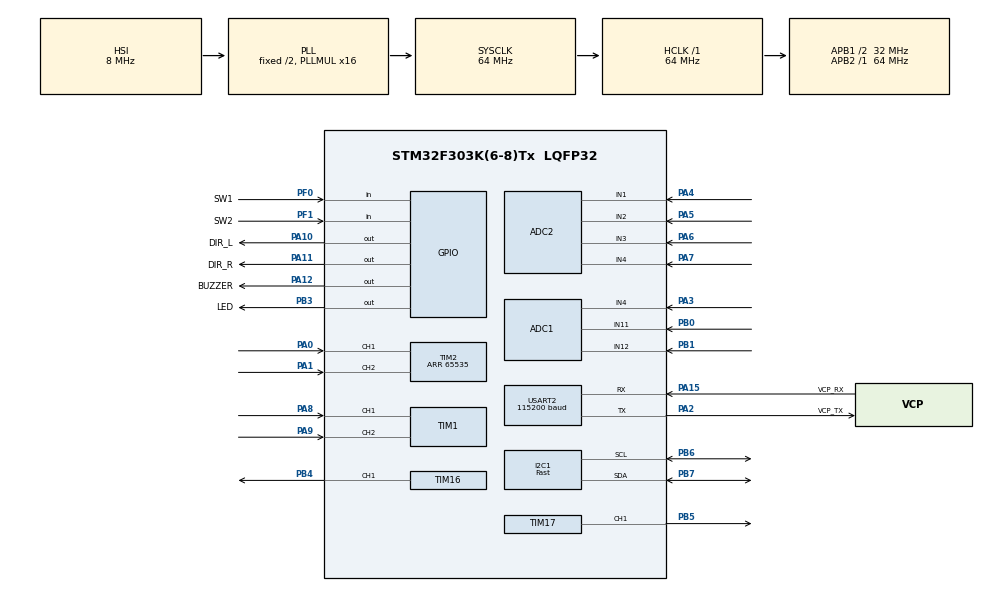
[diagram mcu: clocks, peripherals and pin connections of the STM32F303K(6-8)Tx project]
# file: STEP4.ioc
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ADC1.Channel-3\#ChannelRegularConversion=ADC_CHANNEL_4
ADC1.Channel-4\#ChannelRegularConversion=ADC_CHANNEL_11
ADC1.Channel-5\#ChannelRegularConversion=ADC_CHANNEL_12
ADC1.ContinuousConvMode=DISABLE
ADC1.DMAContinuousRequests=ENABLE
ADC1.DiscontinuousConvMode=ENABLE
ADC1.ExternalTrigConv=ADC_EXTERNALTRIGCONV_T3_TRGO
ADC1.NbrOfConversion=3
ADC1.NbrOfConversionFlag=1
ADC1.NbrOfDiscConversion=3
ADC1.Offset-3\#ChannelRegularConversion=0
ADC1.Offset-4\#ChannelRegularConversion=0
ADC1.Offset-5\#ChannelRegularConversion=0
ADC1.OffsetNumber-3\#ChannelRegularConversion=ADC_OFFSET_NONE
ADC1.OffsetNumber-4\#ChannelRegularConversion=ADC_OFFSET_NONE
ADC1.OffsetNumber-5\#ChannelRegularConversion=ADC_OFFSET_NONE
ADC1.Rank-3\#ChannelRegularConversion=1
ADC1.Rank-4\#ChannelRegularConversion=2
ADC1.Rank-5\#ChannelRegularConversion=3
ADC1.SamplingTime-3\#ChannelRegularConversion=ADC_SAMPLETIME_4CYCLES_5
ADC1.SamplingTime-4\#ChannelRegularConversion=ADC_SAMPLETIME_4CYCLES_5
ADC1.SamplingTime-5\#ChannelRegularConversion=ADC_SAMPLETIME_4CYCLES_5
ADC1.SubFamily=STM32F303x8
ADC1.master=1
ADC2.Channel-3\#ChannelRegularConversion=ADC_CHANNEL_1
ADC2.Channel-4\#ChannelRegularConversion=ADC_CHANNEL_2
ADC2.Channel-5\#ChannelRegularConversion=ADC_CHANNEL_3
ADC2.Channel-6\#ChannelRegularConversion=ADC_CHANNEL_4
ADC2.ContinuousConvMode=DISABLE
ADC2.DMAContinuousRequests=ENABLE
ADC2.DiscontinuousConvMode=ENABLE
ADC2.ExternalTrigConv=ADC_EXTERNALTRIGCONV_T3_TRGO
ADC2.NbrOfConversion=4
ADC2.NbrOfConversionFlag=1
ADC2.NbrOfDiscConversion=4
ADC2.Offset-3\#ChannelRegularConversion=0
ADC2.Offset-4\#ChannelRegularConversion=0
ADC2.Offset-5\#ChannelRegularConversion=0
ADC2.Offset-6\#ChannelRegularConversion=0
ADC2.OffsetNumber-3\#ChannelRegularConversion=ADC_OFFSET_NONE
ADC2.OffsetNumber-4\#ChannelRegularConversion=ADC_OFFSET_NONE
ADC2.OffsetNumber-5\#ChannelRegularConversion=ADC_OFFSET_NONE
ADC2.OffsetNumber-6\#ChannelRegularConversion=ADC_OFFSET_NONE
ADC2.Rank-3\#ChannelRegularConversion=1
ADC2.Rank-4\#ChannelRegularConversion=2
ADC2.Rank-5\#ChannelRegularConversion=3
ADC2.Rank-6\#ChannelRegularConversion=4
ADC2.SamplingTime-3\#ChannelRegularConversion=ADC_SAMPLETIME_4CYCLES_5
ADC2.SamplingTime-4\#ChannelRegularConversion=ADC_SAMPLETIME_4CYCLES_5
ADC2.SamplingTime-5\#ChannelRegularConversion=ADC_SAMPLETIME_4CYCLES_5
ADC2.SamplingTime-6\#ChannelRegularConversion=ADC_SAMPLETIME_4CYCLES_5
ADC2.SubFamily=STM32F303x8
Dma.ADC1.0.Direction=DMA_PERIPH_TO_MEMORY
Dma.ADC1.0.Instance=DMA1_Channel1
Dma.ADC1.0.MemDataAlignment=DMA_MDATAALIGN_HALFWORD
Dma.ADC1.0.MemInc=DMA_MINC_ENABLE
Dma.ADC1.0.Mode=DMA_CIRCULAR
Dma.ADC1.0.PeriphDataAlignment=DMA_PDATAALIGN_HALFWORD
Dma.ADC1.0.PeriphInc=DMA_PINC_DISABLE
Dma.ADC1.0.Priority=DMA_PRIORITY_LOW
Dma.ADC2.1.Direction=DMA_PERIPH_TO_MEMORY
Dma.ADC2.1.Instance=DMA1_Channel2
Dma.ADC2.1.MemDataAlignment=DMA_MDATAALIGN_HALFWORD
Dma.ADC2.1.MemInc=DMA_MINC_ENABLE
Dma.ADC2.1.Mode=DMA_CIRCULAR
Dma.ADC2.1.PeriphDataAlignment=DMA_PDATAALIGN_HALFWORD
Dma.ADC2.1.PeriphInc=DMA_PINC_DISABLE
Dma.ADC2.1.Priority=DMA_PRIORITY_LOW
Dma.I2C1_RX.2.Direction=DMA_PERIPH_TO_MEMORY
Dma.I2C1_RX.2.Instance=DMA1_Channel3
Dma.I2C1_RX.2.MemDataAlignment=DMA_MDATAALIGN_BYTE
Dma.I2C1_RX.2.MemInc=DMA_MINC_ENABLE
Dma.I2C1_RX.2.Mode=DMA_NORMAL
Dma.I2C1_RX.2.PeriphDataAlignment=DMA_PDATAALIGN_BYTE
Dma.I2C1_RX.2.PeriphInc=DMA_PINC_DISABLE
Dma.I2C1_RX.2.Priority=DMA_PRIORITY_LOW
Dma.I2C1_TX.3.Direction=DMA_MEMORY_TO_PERIPH
Dma.I2C1_TX.3.Instance=DMA1_Channel4
Dma.I2C1_TX.3.MemDataAlignment=DMA_MDATAALIGN_BYTE
Dma.I2C1_TX.3.MemInc=DMA_MINC_ENABLE
Dma.I2C1_TX.3.Mode=DMA_NORMAL
Dma.I2C1_TX.3.PeriphDataAlignment=DMA_PDATAALIGN_BYTE
Dma.I2C1_TX.3.PeriphInc=DMA_PINC_DISABLE
Dma.I2C1_TX.3.Priority=DMA_PRIORITY_LOW
Dma.Request0=ADC1
Dma.Request1=ADC2
Dma.Request2=I2C1_RX
Dma.Request3=I2C1_TX
I2C1.Analog_Filter=I2C_ANALOGFILTER_ENABLE
I2C1.I2C_Speed_Mode=I2C_Fast
I2C1.Speed=400
I2C1.Timing=0x0000020B
Mcu.Family=STM32F3
Mcu.Name=STM32F303K(6-8)Tx
Mcu.Package=LQFP32
NVIC.DMA1_Channel1_IRQn=true\:0\:0\:false\:false\:true\:false\:true\:true
NVIC.DMA1_Channel2_IRQn=true\:0\:0\:false\:false\:true\:false\:true\:true
NVIC.DMA1_Channel3_IRQn=true\:0\:0\:false\:false\:true\:false\:true\:true
NVIC.DMA1_Channel4_IRQn=true\:0\:0\:false\:false\:true\:false\:true\:true
NVIC.I2C1_EV_IRQn=true\:0\:0\:false\:false\:true\:true\:true\:true
NVIC.PriorityGroup=NVIC_PRIORITYGROUP_4
NVIC.TIM6_DAC1_IRQn=true\:0\:0\:false\:false\:true\:true\:true\:true
NVIC.TIM7_DAC2_IRQn=true\:0\:0\:false\:false\:true\:true\:true\:true
PA0.Signal=S_TIM2_CH1_ETR
PA1.Signal=S_TIM2_CH2
PA10.GPIO_Label=DIR_L
PA10.Signal=GPIO_Output
PA11.GPIO_Label=DIR_R
PA11.Signal=GPIO_Output
PA12.GPIO_Label=BUZZER
PA12.Signal=GPIO_Output
PA13.GPIO_Label=SWDIO
PA13.Mode=Serial_Wire
PA13.Signal=SYS_JTMS-SWDIO
PA14.GPIO_Label=SWCLK
PA14.Mode=Serial_Wire
PA14.Signal=SYS_JTCK-SWCLK
PA15.GPIO_Label=VCP_RX
PA15.Mode=Asynchronous
PA15.Signal=USART2_RX
PA2.GPIO_Label=VCP_TX
PA2.Mode=Asynchronous
PA2.Signal=USART2_TX
PA3.Mode=IN4-Single-Ended
PA3.Signal=ADC1_IN4
PA4.Mode=IN1-Single-Ended
PA4.Signal=ADC2_IN1
PA5.Mode=IN2-Single-Ended
PA5.Signal=ADC2_IN2
PA6.Mode=IN3-Single-Ended
PA6.Signal=ADC2_IN3
PA7.Mode=IN4-Single-Ended
PA7.Signal=ADC2_IN4
PA8.Signal=S_TIM1_CH1
PA9.Signal=S_TIM1_CH2
PB0.Mode=IN11-Single-Ended
PB0.Signal=ADC1_IN11
PB1.Mode=IN12-Single-Ended
PB1.Signal=ADC1_IN12
PB3.GPIO_Label=LED
PB3.Signal=GPIO_Output
PB4.Signal=S_TIM16_CH1
PB5.Signal=S_TIM17_CH1
PB6.GPIO_Pu=GPIO_PULLUP
PB6.Mode=I2C
PB6.Signal=I2C1_SCL
PB7.GPIO_Pu=GPIO_PULLUP
PB7.Mode=I2C
PB7.Signal=I2C1_SDA
PF0\ /\ OSC_IN.GPIO_Label=SW1
PF0\ /\ OSC_IN.GPIO_PuPd=GPIO_PULLUP
PF0\ /\ OSC_IN.Signal=GPIO_Input
PF1\ /\ OSC_OUT.GPIO_Label=SW2
PF1\ /\ OSC_OUT.GPIO_PuPd=GPIO_PULLUP
PF1\ /\ OSC_OUT.Signal=GPIO_Input
ProjectManager.HeapSize=0x200
ProjectManager.StackSize=0x400
ProjectManager.TargetToolchain=STM32CubeIDE
RCC.AHBFreq_Value=64000000
RCC.APB1CLKDivider=RCC_HCLK_DIV2
RCC.APB1Freq_Value=32000000
RCC.APB1TimFreq_Value=64000000
RCC.APB2Freq_Value=64000000
RCC.APB2TimFreq_Value=64000000
RCC.CortexFreq_Value=64000000
RCC.HCLKFreq_Value=64000000
RCC.HSE_VALUE=8000000
RCC.HSI_VALUE=8000000
RCC.PLLMUL=RCC_PLL_MUL16
RCC.SYSCLKFreq_VALUE=64000000
RCC.SYSCLKSourceVirtual=RCC_SYSCLKSOURCE_PLLCLK
SH.S_TIM16_CH1.0=TIM16_CH1,PWM Generation1 CH1
SH.S_TIM17_CH1.0=TIM17_CH1,PWM Generation1 CH1
SH.S_TIM1_CH1.0=TIM1_CH1,Encoder_Interface
SH.S_TIM1_CH2.0=TIM1_CH2,Encoder_Interface
SH.S_TIM2_CH1_ETR.0=TIM2_CH1,Encoder_Interface
SH.S_TIM2_CH2.0=TIM2_CH2,Encoder_Interface
TIM1.AutoReloadPreload=TIM_AUTORELOAD_PRELOAD_ENABLE
TIM1.EncoderMode=TIM_ENCODERMODE_TI12
TIM16.AutoReloadPreload=TIM_AUTORELOAD_PRELOAD_ENABLE
TIM16.Channel=TIM_CHANNEL_1
TIM16.Period=3199
TIM16.Pulse=599
TIM17.AutoReloadPreload=TIM_AUTORELOAD_PRELOAD_ENABLE
TIM17.Channel=TIM_CHANNEL_1
TIM17.Period=3199
TIM17.Prescaler=0
TIM17.Pulse=599
TIM2.AutoReloadPreload=TIM_AUTORELOAD_PRELOAD_ENABLE
TIM2.EncoderMode=TIM_ENCODERMODE_TI12
TIM2.Period=65535
TIM3.AutoReloadPreload=TIM_AUTORELOAD_PRELOAD_ENABLE
TIM3.Period=999
TIM3.Prescaler=63
TIM3.TIM_MasterOutputTrigger=TIM_TRGO_UPDATE
TIM6.AutoReloadPreload=TIM_AUTORELOAD_PRELOAD_ENABLE
TIM6.Period=499
TIM6.Prescaler=63
TIM7.AutoReloadPreload=TIM_AUTORELOAD_PRELOAD_ENABLE
TIM7.Period=9999
TIM7.Prescaler=63
USART2.BaudRate=115200
USART2.VirtualMode-Asynchronous=VM_ASYNC
VP_TIM16_VS_ClockSourceINT.Mode=Enable_Timer
VP_TIM17_VS_ClockSourceINT.Mode=Enable_Timer
VP_TIM3_VS_ClockSourceINT.Mode=Internal
VP_TIM6_VS_ClockSourceINT.Mode=Enable_Timer
VP_TIM7_VS_ClockSourceINT.Mode=Enable_Timer
board=NUCLEO-F303K8

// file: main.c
/* USER CODE BEGIN Header */
/**
  ******************************************************************************
  * @file           : main.c
  * @brief          : Main program body
  ******************************************************************************
  * @attention
  *
  * Copyright (c) 2020 RT Corporation
  * License: Apache License, Version 2.0
  * https://www.apache.org/licenses/LICENSE-2.0
  *
  * This file is licensed the Apache License, Version 2.0.
  * This file is based on the auto generated template .c file
  * released by STMicroelectronics licensed under the BSD 3-Clause License.
  *
  *=*=*=*=*=*=*=*=*=*=*=*=*=*=*=*=*=*=*=*=*=*=*=*=*=*=*=*=*=*=*=*=*=*=*=*=*=*=
  * <h2><center>&copy; Copyright (c) 2020 STMicroelectronics.
  * All rights reserved.</center></h2>
  *
  * This software component is licensed by ST under BSD 3-Clause license,
  * the "License"; You may not use this file except in compliance with the
  * License. You may obtain a copy of the License at:
  *                        opensource.org/licenses/BSD-3-Clause
  *=*=*=*=*=*=*=*=*=*=*=*=*=*=*=*=*=*=*=*=*=*=*=*=*=*=*=*=*=*=*=*=*=*=*=*=*=*=
  *
  ******************************************************************************
  */
/* USER CODE END Header */
#include "main.h"

ADC_HandleTypeDef hadc1;
ADC_HandleTypeDef hadc2;
DMA_HandleTypeDef hdma_adc1;
DMA_HandleTypeDef hdma_adc2;

I2C_HandleTypeDef hi2c1;
DMA_HandleTypeDef hdma_i2c1_rx;
DMA_HandleTypeDef hdma_i2c1_tx;

TIM_HandleTypeDef htim1;
TIM_HandleTypeDef htim2;
TIM_HandleTypeDef htim3;
TIM_HandleTypeDef htim6;
TIM_HandleTypeDef htim7;
TIM_HandleTypeDef htim16;
TIM_HandleTypeDef htim17;

UART_HandleTypeDef huart2;

void SystemClock_Config(void);
static void MX_GPIO_Init(void);
static void MX_DMA_Init(void);
static void MX_USART2_UART_Init(void);
static void MX_I2C1_Init(void);
static void MX_TIM2_Init(void);
static void MX_TIM17_Init(void);
static void MX_ADC1_Init(void);
static void MX_ADC2_Init(void);
static void MX_TIM3_Init(void);
static void MX_TIM6_Init(void);
static void MX_TIM7_Init(void);
static void MX_TIM16_Init(void);
static void MX_TIM1_Init(void);

int main(void)
{

  /* MCU Configuration--------------------------------------------------------*/

  /* Reset of all peripherals, Initializes the Flash interface and the Systick. */
  HAL_Init();

  /* Configure the system clock */
  SystemClock_Config();

  /* Initialize all configured peripherals */
  MX_GPIO_Init();
  MX_DMA_Init();
  MX_USART2_UART_Init();
  MX_I2C1_Init();
  MX_TIM2_Init();
  MX_TIM17_Init();
  MX_ADC1_Init();
  MX_ADC2_Init();
  MX_TIM3_Init();
  MX_TIM6_Init();
  MX_TIM7_Init();
  MX_TIM16_Init();
  MX_TIM1_Init();
  /* USER CODE BEGIN 2 */

  int count = 0;
  /* USER CODE END 2 */

  /* Infinite loop */
  /* USER CODE BEGIN WHILE */
  while (1) {
    if (HAL_GPIO_ReadPin(SW1_GPIO_Port, SW1_Pin) == 0) {
      HAL_GPIO_WritePin(LED_GPIO_Port, LED_Pin, 1);
      count++;
      HAL_Delay(30);
      while (HAL_GPIO_ReadPin(SW1_GPIO_Port, SW1_Pin) == 0) continue;
      HAL_Delay(30);
    } else {
      HAL_GPIO_WritePin(LED_GPIO_Port, LED_Pin, 0);
    }

    if (HAL_GPIO_ReadPin(SW2_GPIO_Port, SW2_Pin) == 0) {
      for (int i = 0; i < count; i++) {
        HAL_GPIO_WritePin(BUZZER_GPIO_Port, BUZZER_Pin, 1);
        HAL_Delay(100);
        HAL_GPIO_WritePin(BUZZER_GPIO_Port, BUZZER_Pin, 0);
        HAL_Delay(500);
      }
      count = 0;
    }
    /* USER CODE END WHILE */

  }
}

void SystemClock_Config(void)
{
  RCC_OscInitTypeDef RCC_OscInitStruct = {0};
  RCC_ClkInitTypeDef RCC_ClkInitStruct = {0};
  RCC_PeriphCLKInitTypeDef PeriphClkInit = {0};

  /** Initializes the RCC Oscillators according to the specified parameters
  * in the RCC_OscInitTypeDef structure.
  */
  RCC_OscInitStruct.OscillatorType = RCC_OSCILLATORTYPE_HSI;
  RCC_OscInitStruct.HSIState = RCC_HSI_ON;
  RCC_OscInitStruct.HSICalibrationValue = RCC_HSICALIBRATION_DEFAULT;
  RCC_OscInitStruct.PLL.PLLState = RCC_PLL_ON;
  RCC_OscInitStruct.PLL.PLLSource = RCC_PLLSOURCE_HSI;
  RCC_OscInitStruct.PLL.PLLMUL = RCC_PLL_MUL16;
  if (HAL_RCC_OscConfig(&RCC_OscInitStruct) != HAL_OK) {
    Error_Handler();
  }

  /** Initializes the CPU, AHB and APB buses clocks
  */
  RCC_ClkInitStruct.ClockType =
    RCC_CLOCKTYPE_HCLK | RCC_CLOCKTYPE_SYSCLK | RCC_CLOCKTYPE_PCLK1 | RCC_CLOCKTYPE_PCLK2;
  RCC_ClkInitStruct.SYSCLKSource = RCC_SYSCLKSOURCE_PLLCLK;
  RCC_ClkInitStruct.AHBCLKDivider = RCC_SYSCLK_DIV1;
  RCC_ClkInitStruct.APB1CLKDivider = RCC_HCLK_DIV2;
  RCC_ClkInitStruct.APB2CLKDivider = RCC_HCLK_DIV1;

  if (HAL_RCC_ClockConfig(&RCC_ClkInitStruct, FLASH_LATENCY_2) != HAL_OK) {
    Error_Handler();
  }
  PeriphClkInit.PeriphClockSelection =
    RCC_PERIPHCLK_I2C1 | RCC_PERIPHCLK_TIM1 | RCC_PERIPHCLK_ADC12;
  PeriphClkInit.Adc12ClockSelection = RCC_ADC12PLLCLK_DIV1;
  PeriphClkInit.I2c1ClockSelection = RCC_I2C1CLKSOURCE_HSI;
  PeriphClkInit.Tim1ClockSelection = RCC_TIM1CLK_HCLK;
  if (HAL_RCCEx_PeriphCLKConfig(&PeriphClkInit) != HAL_OK) {
    Error_Handler();
  }
}

static void MX_ADC1_Init(void)
{

  ADC_MultiModeTypeDef multimode = {0};
  ADC_ChannelConfTypeDef sConfig = {0};

  /** Common config
  */
  hadc1.Instance = ADC1;
  hadc1.Init.ClockPrescaler = ADC_CLOCK_ASYNC_DIV1;
  hadc1.Init.Resolution = ADC_RESOLUTION_12B;
  hadc1.Init.ScanConvMode = ADC_SCAN_ENABLE;
  hadc1.Init.ContinuousConvMode = DISABLE;
  hadc1.Init.DiscontinuousConvMode = ENABLE;
  hadc1.Init.NbrOfDiscConversion = 3;
  hadc1.Init.ExternalTrigConvEdge = ADC_EXTERNALTRIGCONVEDGE_RISING;
  hadc1.Init.ExternalTrigConv = ADC_EXTERNALTRIGCONV_T3_TRGO;
  hadc1.Init.DataAlign = ADC_DATAALIGN_RIGHT;
  hadc1.Init.NbrOfConversion = 3;
  hadc1.Init.DMAContinuousRequests = ENABLE;
  hadc1.Init.EOCSelection = ADC_EOC_SINGLE_CONV;
  hadc1.Init.LowPowerAutoWait = DISABLE;
  hadc1.Init.Overrun = ADC_OVR_DATA_OVERWRITTEN;
  if (HAL_ADC_Init(&hadc1) != HAL_OK) {
    Error_Handler();
  }

  /** Configure the ADC multi-mode
  */
  multimode.Mode = ADC_MODE_INDEPENDENT;
  if (HAL_ADCEx_MultiModeConfigChannel(&hadc1, &multimode) != HAL_OK) {
    Error_Handler();
  }

  /** Configure Regular Channel
  */
  sConfig.Channel = ADC_CHANNEL_4;
  sConfig.Rank = ADC_REGULAR_RANK_1;
  sConfig.SingleDiff = ADC_SINGLE_ENDED;
  sConfig.SamplingTime = ADC_SAMPLETIME_4CYCLES_5;
  sConfig.OffsetNumber = ADC_OFFSET_NONE;
  sConfig.Offset = 0;
  if (HAL_ADC_ConfigChannel(&hadc1, &sConfig) != HAL_OK) {
    Error_Handler();
  }

  /** Configure Regular Channel
  */
  sConfig.Channel = ADC_CHANNEL_11;
  sConfig.Rank = ADC_REGULAR_RANK_2;
  if (HAL_ADC_ConfigChannel(&hadc1, &sConfig) != HAL_OK) {
    Error_Handler();
  }

  /** Configure Regular Channel
  */
  sConfig.Channel = ADC_CHANNEL_12;
  sConfig.Rank = ADC_REGULAR_RANK_3;
  if (HAL_ADC_ConfigChannel(&hadc1, &sConfig) != HAL_OK) {
    Error_Handler();
  }
}

static void MX_ADC2_Init(void)
{

  ADC_ChannelConfTypeDef sConfig = {0};

  /** Common config
  */
  hadc2.Instance = ADC2;
  hadc2.Init.ClockPrescaler = ADC_CLOCK_ASYNC_DIV1;
  hadc2.Init.Resolution = ADC_RESOLUTION_12B;
  hadc2.Init.ScanConvMode = ADC_SCAN_ENABLE;
  hadc2.Init.ContinuousConvMode = DISABLE;
  hadc2.Init.DiscontinuousConvMode = ENABLE;
  hadc2.Init.NbrOfDiscConversion = 4;
  hadc2.Init.ExternalTrigConvEdge = ADC_EXTERNALTRIGCONVEDGE_RISING;
  hadc2.Init.ExternalTrigConv = ADC_EXTERNALTRIGCONV_T3_TRGO;
  hadc2.Init.DataAlign = ADC_DATAALIGN_RIGHT;
  hadc2.Init.NbrOfConversion = 4;
  hadc2.Init.DMAContinuousRequests = ENABLE;
  hadc2.Init.EOCSelection = ADC_EOC_SINGLE_CONV;
  hadc2.Init.LowPowerAutoWait = DISABLE;
  hadc2.Init.Overrun = ADC_OVR_DATA_OVERWRITTEN;
  if (HAL_ADC_Init(&hadc2) != HAL_OK) {
    Error_Handler();
  }

  /** Configure Regular Channel
  */
  sConfig.Channel = ADC_CHANNEL_1;
  sConfig.Rank = ADC_REGULAR_RANK_1;
  sConfig.SingleDiff = ADC_SINGLE_ENDED;
  sConfig.SamplingTime = ADC_SAMPLETIME_4CYCLES_5;
  sConfig.OffsetNumber = ADC_OFFSET_NONE;
  sConfig.Offset = 0;
  if (HAL_ADC_ConfigChannel(&hadc2, &sConfig) != HAL_OK) {
    Error_Handler();
  }

  /** Configure Regular Channel
  */
  sConfig.Channel = ADC_CHANNEL_2;
  sConfig.Rank = ADC_REGULAR_RANK_2;
  if (HAL_ADC_ConfigChannel(&hadc2, &sConfig) != HAL_OK) {
    Error_Handler();
  }

  /** Configure Regular Channel
  */
  sConfig.Channel = ADC_CHANNEL_3;
  sConfig.Rank = ADC_REGULAR_RANK_3;
  if (HAL_ADC_ConfigChannel(&hadc2, &sConfig) != HAL_OK) {
    Error_Handler();
  }

  /** Configure Regular Channel
  */
  sConfig.Channel = ADC_CHANNEL_4;
  sConfig.Rank = ADC_REGULAR_RANK_4;
  if (HAL_ADC_ConfigChannel(&hadc2, &sConfig) != HAL_OK) {
    Error_Handler();
  }
}

static void MX_I2C1_Init(void)
{

  hi2c1.Instance = I2C1;
  hi2c1.Init.Timing = 0x0000020B;
  hi2c1.Init.OwnAddress1 = 0;
  hi2c1.Init.AddressingMode = I2C_ADDRESSINGMODE_7BIT;
  hi2c1.Init.DualAddressMode = I2C_DUALADDRESS_DISABLE;
  hi2c1.Init.OwnAddress2 = 0;
  hi2c1.Init.OwnAddress2Masks = I2C_OA2_NOMASK;
  hi2c1.Init.GeneralCallMode = I2C_GENERALCALL_DISABLE;
  hi2c1.Init.NoStretchMode = I2C_NOSTRETCH_DISABLE;
  if (HAL_I2C_Init(&hi2c1) != HAL_OK) {
    Error_Handler();
  }

  /** Configure Analogue filter
  */
  if (HAL_I2CEx_ConfigAnalogFilter(&hi2c1, I2C_ANALOGFILTER_ENABLE) != HAL_OK) {
    Error_Handler();
  }

  /** Configure Digital filter
  */
  if (HAL_I2CEx_ConfigDigitalFilter(&hi2c1, 0) != HAL_OK) {
    Error_Handler();
  }
}

static void MX_TIM1_Init(void)
{

  TIM_Encoder_InitTypeDef sConfig = {0};
  TIM_MasterConfigTypeDef sMasterConfig = {0};

  htim1.Instance = TIM1;
  htim1.Init.Prescaler = 0;
  htim1.Init.CounterMode = TIM_COUNTERMODE_UP;
  htim1.Init.Period = 65535;
  htim1.Init.ClockDivision = TIM_CLOCKDIVISION_DIV1;
  htim1.Init.RepetitionCounter = 0;
  htim1.Init.AutoReloadPreload = TIM_AUTORELOAD_PRELOAD_ENABLE;
  sConfig.EncoderMode = TIM_ENCODERMODE_TI12;
  sConfig.IC1Polarity = TIM_ICPOLARITY_RISING;
  sConfig.IC1Selection = TIM_ICSELECTION_DIRECTTI;
  sConfig.IC1Prescaler = TIM_ICPSC_DIV1;
  sConfig.IC1Filter = 0;
  sConfig.IC2Polarity = TIM_ICPOLARITY_RISING;
  sConfig.IC2Selection = TIM_ICSELECTION_DIRECTTI;
  sConfig.IC2Prescaler = TIM_ICPSC_DIV1;
  sConfig.IC2Filter = 0;
  if (HAL_TIM_Encoder_Init(&htim1, &sConfig) != HAL_OK) {
    Error_Handler();
  }
  sMasterConfig.MasterOutputTrigger = TIM_TRGO_RESET;
  sMasterConfig.MasterOutputTrigger2 = TIM_TRGO2_RESET;
  sMasterConfig.MasterSlaveMode = TIM_MASTERSLAVEMODE_DISABLE;
  if (HAL_TIMEx_MasterConfigSynchronization(&htim1, &sMasterConfig) != HAL_OK) {
    Error_Handler();
  }
}

static void MX_TIM2_Init(void)
{

  TIM_Encoder_InitTypeDef sConfig = {0};
  TIM_MasterConfigTypeDef sMasterConfig = {0};

  htim2.Instance = TIM2;
  htim2.Init.Prescaler = 0;
  htim2.Init.CounterMode = TIM_COUNTERMODE_UP;
  htim2.Init.Period = 65535;
  htim2.Init.ClockDivision = TIM_CLOCKDIVISION_DIV1;
  htim2.Init.AutoReloadPreload = TIM_AUTORELOAD_PRELOAD_ENABLE;
  sConfig.EncoderMode = TIM_ENCODERMODE_TI12;
  sConfig.IC1Polarity = TIM_ICPOLARITY_RISING;
  sConfig.IC1Selection = TIM_ICSELECTION_DIRECTTI;
  sConfig.IC1Prescaler = TIM_ICPSC_DIV1;
  sConfig.IC1Filter = 0;
  sConfig.IC2Polarity = TIM_ICPOLARITY_RISING;
  sConfig.IC2Selection = TIM_ICSELECTION_DIRECTTI;
  sConfig.IC2Prescaler = TIM_ICPSC_DIV1;
  sConfig.IC2Filter = 0;
  if (HAL_TIM_Encoder_Init(&htim2, &sConfig) != HAL_OK) {
    Error_Handler();
  }
  sMasterConfig.MasterOutputTrigger = TIM_TRGO_RESET;
  sMasterConfig.MasterSlaveMode = TIM_MASTERSLAVEMODE_DISABLE;
  if (HAL_TIMEx_MasterConfigSynchronization(&htim2, &sMasterConfig) != HAL_OK) {
    Error_Handler();
  }
}

static void MX_TIM3_Init(void)
{

  TIM_ClockConfigTypeDef sClockSourceConfig = {0};
  TIM_MasterConfigTypeDef sMasterConfig = {0};

  htim3.Instance = TIM3;
  htim3.Init.Prescaler = 63;
  htim3.Init.CounterMode = TIM_COUNTERMODE_UP;
  htim3.Init.Period = 999;
  htim3.Init.ClockDivision = TIM_CLOCKDIVISION_DIV1;
  htim3.Init.AutoReloadPreload = TIM_AUTORELOAD_PRELOAD_ENABLE;
  if (HAL_TIM_Base_Init(&htim3) != HAL_OK) {
    Error_Handler();
  }
  sClockSourceConfig.ClockSource = TIM_CLOCKSOURCE_INTERNAL;
  if (HAL_TIM_ConfigClockSource(&htim3, &sClockSourceConfig) != HAL_OK) {
    Error_Handler();
  }
  sMasterConfig.MasterOutputTrigger = TIM_TRGO_UPDATE;
  sMasterConfig.MasterSlaveMode = TIM_MASTERSLAVEMODE_DISABLE;
  if (HAL_TIMEx_MasterConfigSynchronization(&htim3, &sMasterConfig) != HAL_OK) {
    Error_Handler();
  }
}

static void MX_TIM6_Init(void)
{

  TIM_MasterConfigTypeDef sMasterConfig = {0};

  htim6.Instance = TIM6;
  htim6.Init.Prescaler = 63;
  htim6.Init.CounterMode = TIM_COUNTERMODE_UP;
  htim6.Init.Period = 499;
  htim6.Init.AutoReloadPreload = TIM_AUTORELOAD_PRELOAD_ENABLE;
  if (HAL_TIM_Base_Init(&htim6) != HAL_OK) {
    Error_Handler();
  }
  sMasterConfig.MasterOutputTrigger = TIM_TRGO_RESET;
  sMasterConfig.MasterSlaveMode = TIM_MASTERSLAVEMODE_DISABLE;
  if (HAL_TIMEx_MasterConfigSynchronization(&htim6, &sMasterConfig) != HAL_OK) {
    Error_Handler();
  }
}

static void MX_TIM7_Init(void)
{

  TIM_MasterConfigTypeDef sMasterConfig = {0};

  htim7.Instance = TIM7;
  htim7.Init.Prescaler = 63;
  htim7.Init.CounterMode = TIM_COUNTERMODE_UP;
  htim7.Init.Period = 9999;
  htim7.Init.AutoReloadPreload = TIM_AUTORELOAD_PRELOAD_ENABLE;
  if (HAL_TIM_Base_Init(&htim7) != HAL_OK) {
    Error_Handler();
  }
  sMasterConfig.MasterOutputTrigger = TIM_TRGO_RESET;
  sMasterConfig.MasterSlaveMode = TIM_MASTERSLAVEMODE_DISABLE;
  if (HAL_TIMEx_MasterConfigSynchronization(&htim7, &sMasterConfig) != HAL_OK) {
    Error_Handler();
  }
}

static void MX_TIM16_Init(void)
{

  TIM_OC_InitTypeDef sConfigOC = {0};
  TIM_BreakDeadTimeConfigTypeDef sBreakDeadTimeConfig = {0};

  htim16.Instance = TIM16;
  htim16.Init.Prescaler = 0;
  htim16.Init.CounterMode = TIM_COUNTERMODE_UP;
  htim16.Init.Period = 3199;
  htim16.Init.ClockDivision = TIM_CLOCKDIVISION_DIV1;
  htim16.Init.RepetitionCounter = 0;
  htim16.Init.AutoReloadPreload = TIM_AUTORELOAD_PRELOAD_ENABLE;
  if (HAL_TIM_Base_Init(&htim16) != HAL_OK) {
    Error_Handler();
  }
  if (HAL_TIM_PWM_Init(&htim16) != HAL_OK) {
    Error_Handler();
  }
  sConfigOC.OCMode = TIM_OCMODE_PWM1;
  sConfigOC.Pulse = 599;
  sConfigOC.OCPolarity = TIM_OCPOLARITY_HIGH;
  sConfigOC.OCNPolarity = TIM_OCNPOLARITY_HIGH;
  sConfigOC.OCFastMode = TIM_OCFAST_DISABLE;
  sConfigOC.OCIdleState = TIM_OCIDLESTATE_RESET;
  sConfigOC.OCNIdleState = TIM_OCNIDLESTATE_RESET;
  if (HAL_TIM_PWM_ConfigChannel(&htim16, &sConfigOC, TIM_CHANNEL_1) != HAL_OK) {
    Error_Handler();
  }
  sBreakDeadTimeConfig.OffStateRunMode = TIM_OSSR_DISABLE;
  sBreakDeadTimeConfig.OffStateIDLEMode = TIM_OSSI_DISABLE;
  sBreakDeadTimeConfig.LockLevel = TIM_LOCKLEVEL_OFF;
  sBreakDeadTimeConfig.DeadTime = 0;
  sBreakDeadTimeConfig.BreakState = TIM_BREAK_DISABLE;
  sBreakDeadTimeConfig.BreakPolarity = TIM_BREAKPOLARITY_HIGH;
  sBreakDeadTimeConfig.BreakFilter = 0;
  sBreakDeadTimeConfig.AutomaticOutput = TIM_AUTOMATICOUTPUT_DISABLE;
  if (HAL_TIMEx_ConfigBreakDeadTime(&htim16, &sBreakDeadTimeConfig) != HAL_OK) {
    Error_Handler();
  }
  HAL_TIM_MspPostInit(&htim16);
}

static void MX_TIM17_Init(void)
{

  TIM_OC_InitTypeDef sConfigOC = {0};
  TIM_BreakDeadTimeConfigTypeDef sBreakDeadTimeConfig = {0};

  htim17.Instance = TIM17;
  htim17.Init.Prescaler = 0;
  htim17.Init.CounterMode = TIM_COUNTERMODE_UP;
  htim17.Init.Period = 3199;
  htim17.Init.ClockDivision = TIM_CLOCKDIVISION_DIV1;
  htim17.Init.RepetitionCounter = 0;
  htim17.Init.AutoReloadPreload = TIM_AUTORELOAD_PRELOAD_ENABLE;
  if (HAL_TIM_Base_Init(&htim17) != HAL_OK) {
    Error_Handler();
  }
  if (HAL_TIM_PWM_Init(&htim17) != HAL_OK) {
    Error_Handler();
  }
  sConfigOC.OCMode = TIM_OCMODE_PWM1;
  sConfigOC.Pulse = 599;
  sConfigOC.OCPolarity = TIM_OCPOLARITY_HIGH;
  sConfigOC.OCNPolarity = TIM_OCNPOLARITY_HIGH;
  sConfigOC.OCFastMode = TIM_OCFAST_DISABLE;
  sConfigOC.OCIdleState = TIM_OCIDLESTATE_RESET;
  sConfigOC.OCNIdleState = TIM_OCNIDLESTATE_RESET;
  if (HAL_TIM_PWM_ConfigChannel(&htim17, &sConfigOC, TIM_CHANNEL_1) != HAL_OK) {
    Error_Handler();
  }
  sBreakDeadTimeConfig.OffStateRunMode = TIM_OSSR_DISABLE;
  sBreakDeadTimeConfig.OffStateIDLEMode = TIM_OSSI_DISABLE;
  sBreakDeadTimeConfig.LockLevel = TIM_LOCKLEVEL_OFF;
  sBreakDeadTimeConfig.DeadTime = 0;
  sBreakDeadTimeConfig.BreakState = TIM_BREAK_DISABLE;
  sBreakDeadTimeConfig.BreakPolarity = TIM_BREAKPOLARITY_HIGH;
  sBreakDeadTimeConfig.BreakFilter = 0;
  sBreakDeadTimeConfig.AutomaticOutput = TIM_AUTOMATICOUTPUT_DISABLE;
  if (HAL_TIMEx_ConfigBreakDeadTime(&htim17, &sBreakDeadTimeConfig) != HAL_OK) {
    Error_Handler();
  }
  HAL_TIM_MspPostInit(&htim17);
}

static void MX_USART2_UART_Init(void)
{

  huart2.Instance = USART2;
  huart2.Init.BaudRate = 115200;
  huart2.Init.WordLength = UART_WORDLENGTH_8B;
  huart2.Init.StopBits = UART_STOPBITS_1;
  huart2.Init.Parity = UART_PARITY_NONE;
  huart2.Init.Mode = UART_MODE_TX_RX;
  huart2.Init.HwFlowCtl = UART_HWCONTROL_NONE;
  huart2.Init.OverSampling = UART_OVERSAMPLING_16;
  huart2.Init.OneBitSampling = UART_ONE_BIT_SAMPLE_DISABLE;
  huart2.AdvancedInit.AdvFeatureInit = UART_ADVFEATURE_NO_INIT;
  if (HAL_UART_Init(&huart2) != HAL_OK) {
    Error_Handler();
  }
}

static void MX_DMA_Init(void)
{
  /* DMA controller clock enable */
  __HAL_RCC_DMA1_CLK_ENABLE();

  /* DMA interrupt init */
  /* DMA1_Channel1_IRQn interrupt configuration */
  HAL_NVIC_SetPriority(DMA1_Channel1_IRQn, 0, 0);
  HAL_NVIC_EnableIRQ(DMA1_Channel1_IRQn);
  /* DMA1_Channel2_IRQn interrupt configuration */
  HAL_NVIC_SetPriority(DMA1_Channel2_IRQn, 0, 0);
  HAL_NVIC_EnableIRQ(DMA1_Channel2_IRQn);
  /* DMA1_Channel3_IRQn interrupt configuration */
  HAL_NVIC_SetPriority(DMA1_Channel3_IRQn, 0, 0);
  HAL_NVIC_EnableIRQ(DMA1_Channel3_IRQn);
  /* DMA1_Channel4_IRQn interrupt configuration */
  HAL_NVIC_SetPriority(DMA1_Channel4_IRQn, 0, 0);
  HAL_NVIC_EnableIRQ(DMA1_Channel4_IRQn);
}

static void MX_GPIO_Init(void)
{
  GPIO_InitTypeDef GPIO_InitStruct = {0};

  /* GPIO Ports Clock Enable */
  __HAL_RCC_GPIOF_CLK_ENABLE();
  __HAL_RCC_GPIOA_CLK_ENABLE();
  __HAL_RCC_GPIOB_CLK_ENABLE();

  /*Configure GPIO pin Output Level */
  HAL_GPIO_WritePin(GPIOA, DIR_L_Pin | DIR_R_Pin | BUZZER_Pin, GPIO_PIN_RESET);

  /*Configure GPIO pin Output Level */
  HAL_GPIO_WritePin(LED_GPIO_Port, LED_Pin, GPIO_PIN_RESET);

  /*Configure GPIO pins : SW1_Pin SW2_Pin */
  GPIO_InitStruct.Pin = SW1_Pin | SW2_Pin;
  GPIO_InitStruct.Mode = GPIO_MODE_INPUT;
  GPIO_InitStruct.Pull = GPIO_PULLUP;
  HAL_GPIO_Init(GPIOF, &GPIO_InitStruct);

  /*Configure GPIO pins : DIR_L_Pin DIR_R_Pin BUZZER_Pin */
  GPIO_InitStruct.Pin = DIR_L_Pin | DIR_R_Pin | BUZZER_Pin;
  GPIO_InitStruct.Mode = GPIO_MODE_OUTPUT_PP;
  GPIO_InitStruct.Pull = GPIO_NOPULL;
  GPIO_InitStruct.Speed = GPIO_SPEED_FREQ_LOW;
  HAL_GPIO_Init(GPIOA, &GPIO_InitStruct);

  /*Configure GPIO pin : LED_Pin */
  GPIO_InitStruct.Pin = LED_Pin;
  GPIO_InitStruct.Mode = GPIO_MODE_OUTPUT_PP;
  GPIO_InitStruct.Pull = GPIO_NOPULL;
  GPIO_InitStruct.Speed = GPIO_SPEED_FREQ_LOW;
  HAL_GPIO_Init(LED_GPIO_Port, &GPIO_InitStruct);

}

void Error_Handler(void)
{
}
